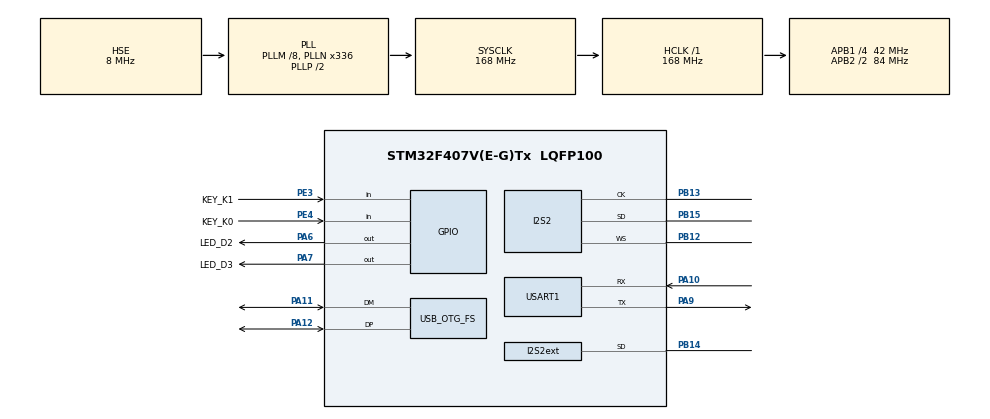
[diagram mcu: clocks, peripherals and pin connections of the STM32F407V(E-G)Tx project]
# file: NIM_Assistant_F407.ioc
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Dma.I2S2_EXT_RX.0.Direction=DMA_PERIPH_TO_MEMORY
Dma.I2S2_EXT_RX.0.FIFOMode=DMA_FIFOMODE_DISABLE
Dma.I2S2_EXT_RX.0.Instance=DMA1_Stream3
Dma.I2S2_EXT_RX.0.MemDataAlignment=DMA_MDATAALIGN_HALFWORD
Dma.I2S2_EXT_RX.0.MemInc=DMA_MINC_ENABLE
Dma.I2S2_EXT_RX.0.Mode=DMA_CIRCULAR
Dma.I2S2_EXT_RX.0.PeriphDataAlignment=DMA_PDATAALIGN_HALFWORD
Dma.I2S2_EXT_RX.0.PeriphInc=DMA_PINC_DISABLE
Dma.I2S2_EXT_RX.0.Priority=DMA_PRIORITY_HIGH
Dma.Request0=I2S2_EXT_RX
Dma.Request1=SPI2_TX
Dma.SPI2_TX.1.Direction=DMA_MEMORY_TO_PERIPH
Dma.SPI2_TX.1.FIFOMode=DMA_FIFOMODE_DISABLE
Dma.SPI2_TX.1.Instance=DMA1_Stream4
Dma.SPI2_TX.1.MemDataAlignment=DMA_MDATAALIGN_HALFWORD
Dma.SPI2_TX.1.MemInc=DMA_MINC_ENABLE
Dma.SPI2_TX.1.Mode=DMA_CIRCULAR
Dma.SPI2_TX.1.PeriphDataAlignment=DMA_PDATAALIGN_HALFWORD
Dma.SPI2_TX.1.PeriphInc=DMA_PINC_DISABLE
Dma.SPI2_TX.1.Priority=DMA_PRIORITY_LOW
Mcu.Family=STM32F4
Mcu.Name=STM32F407V(E-G)Tx
Mcu.Package=LQFP100
NVIC.DMA1_Stream3_IRQn=true\:0\:0\:false\:false\:true\:true\:true\:true
NVIC.DMA1_Stream4_IRQn=true\:0\:0\:false\:false\:true\:true\:true\:true
NVIC.OTG_FS_IRQn=true\:0\:0\:false\:false\:true\:false\:true\:true
NVIC.PriorityGroup=NVIC_PRIORITYGROUP_4
I2S2.AudioFreq=I2S_AUDIOFREQ_16K
I2S2.ClockSource=I2S_CLOCK_PLL
I2S2.DataFormat=I2S_DATAFORMAT_24B
I2S2.FullDuplexMode=I2S_FULLDUPLEXMODE_ENABLE
I2S2.MCLKOutput=I2S_MCLKOUTPUT_DISABLE
I2S2.Standard=I2S_STANDARD_PHILIPS
I2S2.VirtualMode=VM_MASTER_TX
PA10.Mode=Asynchronous
PA10.Signal=USART1_RX
PA11.Mode=Device_Only
PA11.Signal=USB_OTG_FS_DM
PA12.Mode=Device_Only
PA12.Signal=USB_OTG_FS_DP
PA13.Mode=Serial_Wire
PA13.Signal=SYS_JTMS-SWDIO
PA14.Mode=Serial_Wire
PA14.Signal=SYS_JTCK-SWCLK
PB12.Mode=I2S_Transmit
PB12.Signal=I2S2_WS
PB13.Mode=I2S_Transmit
PB13.Signal=I2S2_CK
PB14.Mode=I2S_FullDuplex
PB14.Signal=I2S2ext_SD
PB15.Mode=I2S_Transmit
PB15.Signal=I2S2_SD
PA6.GPIO_Label=LED_D2
PA6.Signal=GPIO_Output
PA7.GPIO_Label=LED_D3
PA7.Signal=GPIO_Output
PA9.Mode=Asynchronous
PA9.Signal=USART1_TX
PE3.GPIO_Label=KEY_K1
PE3.GPIO_PuPd=GPIO_PULLUP
PE3.Signal=GPIO_Input
PE4.GPIO_Label=KEY_K0
PE4.GPIO_PuPd=GPIO_PULLUP
PE4.Signal=GPIO_Input
PH0-OSC_IN.Mode=HSE-External-Oscillator
PH0-OSC_IN.Signal=RCC_OSC_IN
PH1-OSC_OUT.Mode=HSE-External-Oscillator
PH1-OSC_OUT.Signal=RCC_OSC_OUT
ProjectManager.HeapSize=0x200
ProjectManager.StackSize=0x400
ProjectManager.TargetToolchain=STM32CubeIDE
RCC.AHBCLKDivider=RCC_SYSCLK_DIV1
RCC.AHBFreq_Value=168000000
RCC.APB1CLKDivider=RCC_HCLK_DIV4
RCC.APB1Freq_Value=42000000
RCC.APB1TimFreq_Value=84000000
RCC.APB2CLKDivider=RCC_HCLK_DIV2
RCC.APB2Freq_Value=84000000
RCC.APB2TimFreq_Value=168000000
RCC.CortexFreq_Value=168000000
RCC.HCLKFreq_Value=168000000
RCC.HSE_VALUE=8000000
RCC.HSI_VALUE=16000000
RCC.LSE_VALUE=32768
RCC.PLLM=8
RCC.PLLN=336
RCC.PLLP=RCC_PLLP_DIV2
RCC.PLLQ=7
RCC.PLLSourceVirtual=RCC_PLLSOURCE_HSE
RCC.SYSCLKFreq_VALUE=168000000
RCC.SYSCLKSource=RCC_SYSCLKSOURCE_PLLCLK
RCC.VCOOutputFreq_Value=336000000
USART1.VirtualMode=VM_ASYNC
USB_DEVICE.CLASS_NAME_FS=CDC
USB_DEVICE.VirtualMode-CDC_FS=Cdc
USB_DEVICE.VirtualModeFS=Cdc_FS
USB_OTG_FS.VirtualMode=Device_Only
VP_USB_DEVICE_VS_USB_DEVICE_CDC_FS.Mode=CDC_FS
board=custom

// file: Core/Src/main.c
/* USER CODE BEGIN Header */
/**
 ******************************************************************************
 * @file           : main.c
 * @brief          : Main program body
 ******************************************************************************
 * @attention
 *
 * Copyright (c) 2026 STMicroelectronics.
 * All rights reserved.
 *
 * This software is licensed under terms that can be found in the LICENSE file
 * in the root directory of this software component.
 * If no LICENSE file comes with this software, it is provided AS-IS.
 *
 ******************************************************************************
 */
/* USER CODE END Header */
#include "main.h"
#include "usb_device.h"

/* USER CODE BEGIN Includes */
#include "audio_clip.h"
#include "usbd_cdc_if.h"
#include <stdio.h>
#include <string.h>
/* USER CODE END Includes */

/* USER CODE BEGIN PD */
#define MIC_LOOPBACK_CHANNEL 0U
#define LOOPBACK_GAIN 32
#define LOOPBACK_DC_SHIFT 8U
#define LOOPBACK_OUTPUT_LIMIT 900
#define LOOPBACK_LPF_SHIFT 4U
#define LOOPBACK_NOISE_GATE 180
#define MIC_INVALID_MAGNITUDE 500000U
#define LOOPBACK_SPEAKER_ENABLE 0U
#define RECORD_SAMPLE_COUNT 8000U
#define RECORD_GAIN 12
#define RECORD_NOISE_GATE 80
#define RECORD_TEST_TONE 0U  /* 1=fill with test tone, 0=record from mic */
#define PCM_SAMPLE_RATE 16000U
#define PCM_PACKET_MAGIC "PCM1"
#define PCM_PACKET_HEADER_BYTES 24U
#define PCM_PACKET_PAYLOAD_BYTES (RECORD_SAMPLE_COUNT * sizeof(int16_t))
#define PCM_UART_CHUNK_BYTES 256U
#define UART_BRIDGE_BAUD_RATE 921600U
#define ESP32_PERIODIC_PING_ENABLE 0U
#define AUD_PACKET_MAGIC "AUD1"
#define AUD_PACKET_HEADER_BYTES 24U
#define AUD_SAMPLE_RATE 16000U
#define AUD_BYTES_PER_SAMPLE 2U
#define AUD_RING_BUFFER_BYTES 65536U
#define AUD_PREBUFFER_BYTES 8192U
#define UART_RX_DMA_BUFFER_BYTES 1024U
#define DMA_AUDIO_BUFFER_HALFWORDS 512U
#define DMA_AUDIO_HALF_BUFFER_HALFWORDS (DMA_AUDIO_BUFFER_HALFWORDS / 2U)
#define DMA_AUDIO_FRAME_HALFWORDS 4U
#define DMA_AUDIO_HAL_TRANSFER_SIZE (DMA_AUDIO_BUFFER_HALFWORDS / 2U)

/* USER CODE END PD */

UART_HandleTypeDef huart1;
I2S_HandleTypeDef hi2s2;
DMA_HandleTypeDef hdma_i2s2_ext_rx;
DMA_HandleTypeDef hdma_spi2_tx;
DMA_HandleTypeDef hdma_usart1_rx;

/* USER CODE BEGIN PV */
static volatile uint8_t i2s2_ready = 0;
static volatile uint8_t audio_dma_running = 0;
static volatile uint8_t clip_playing = 0;
static volatile uint8_t clip_done_pending = 0;
static volatile uint32_t clip_index = 0;
static volatile uint8_t record_active = 0;
static volatile uint8_t record_playing = 0;
static volatile uint8_t record_play_done_pending = 0;
static volatile uint32_t record_index = 0;
static volatile uint32_t record_play_index = 0;
static volatile uint8_t  record_write_buf = 0;
static volatile uint32_t record_length = 0;
static volatile uint8_t record_done_pending = 0;
static volatile uint8_t audio_dma_error_pending = 0;
static volatile uint32_t record_invalid_count = 0;
static volatile uint32_t record_done_invalid_count = 0;
static volatile uint32_t record_done_lavg = 0;
static volatile uint32_t record_done_lpk = 0;
static volatile uint32_t record_done_ravg = 0;
static volatile uint32_t record_done_rpk = 0;
static volatile uint32_t record_done_ovr = 0;
static volatile uint32_t dma_ovr_count = 0;
static volatile uint32_t dma_error_count = 0;
static volatile uint64_t dma_channel_sum[2] = {0U, 0U};
static volatile uint32_t dma_channel_peak[2] = {0U, 0U};
static volatile uint32_t dma_channel_valid[2] = {0U, 0U};
static volatile uint32_t dma_raw_peak[2] = {0U, 0U};
static volatile uint32_t dma_output_peak = 0;
static volatile uint32_t dma_frame_count = 0;
static uint8_t pcm_tx_active = 0;
static uint8_t pcm_tx_header_sent = 0;
static uint32_t pcm_tx_seq = 0;
static uint32_t pcm_tx_offset = 0;
static uint32_t pcm_tx_checksum = 0;
static uint8_t *pcm_tx_buf = NULL;
static uint32_t pcm_tx_bytes = 0U;

/* 3 slots: worst case at K1 release one full frame is queued plus the final
   partial frame, and the zero-payload EOS marker still needs a slot. */
#define PCM_TX_QUEUE_SIZE 3U
typedef struct { uint8_t *buf; uint32_t bytes; } pcm_tx_item_t;
static pcm_tx_item_t pcm_tx_queue[PCM_TX_QUEUE_SIZE];
static volatile uint8_t  pcm_tx_q_head = 0U;
static volatile uint8_t  pcm_tx_q_tail = 0U;
static volatile uint8_t  pcm_tx_q_count = 0U;
static volatile uint32_t pcm_tx_dropped = 0U;
static volatile uint8_t uart_rx_dma_ready = 0;
static volatile uint8_t aud_rx_active = 0;
static volatile uint8_t aud_playing = 0;
static volatile uint8_t aud_done_pending = 0;
static volatile uint8_t aud_result_pending = 0;
static volatile uint8_t aud_result_ok = 0;
static volatile uint32_t aud_seq = 0;
static volatile uint32_t aud_sample_rate = 0;
static volatile uint32_t aud_sample_count = 0;
static volatile uint32_t aud_payload_bytes = 0;
static volatile uint32_t aud_payload_received = 0;
static volatile uint32_t aud_expected_checksum = 0;
static volatile uint32_t aud_actual_checksum = 0;
static volatile uint32_t aud_underrun_count = 0;
static volatile uint32_t aud_overflow_count = 0;
static volatile uint32_t aud_ring_head = 0;
static volatile uint32_t aud_ring_tail = 0;
static volatile uint32_t aud_ring_count = 0;
static uint32_t uart_rx_dma_read_index = 0;
static uint8_t aud_payload_byte_phase = 0U;
static uint8_t aud_payload_pending_lo = 0U;
static int16_t aud_last_sample = 0;
static int32_t record_dc_estimate = 0;
static int32_t record_lpf = 0;
static int32_t loopback_dc_estimate = 0;
static int32_t loopback_output_filter = 0;
static int16_t loopback_output_sample = 0;
static int16_t record_buf[2][RECORD_SAMPLE_COUNT];
static uint8_t aud_ring_buffer[AUD_RING_BUFFER_BYTES];
static uint8_t uart_rx_dma_buffer[UART_RX_DMA_BUFFER_BYTES];
static uint16_t dma_rx_buffer[DMA_AUDIO_BUFFER_HALFWORDS];
static uint16_t dma_tx_buffer[DMA_AUDIO_BUFFER_HALFWORDS];

/* USER CODE END PV */

void SystemClock_Config(void);
static void MX_DMA_Init(void);
static void MX_GPIO_Init(void);
static void MX_I2S2_Init(void);
static void MX_USART1_UART_Init(void);
/* USER CODE BEGIN PFP */
static void Test_SendStatus(const char *message);
static void Test_SendUsbStatus(const char *message);
static void Test_SendPingIfDue(uint32_t *last_ping_tick);
static void Test_HandleUartRx(void);
static void Test_StartAudioClip(void);
static void Test_StartMicStreamRecord(void);
static void Test_StopMicStreamRecord(void);
static void Test_ResetDmaStats(void);
static void Test_StartAudioDma(void);
static void Test_ServiceAudioDma(uint8_t mic_diagnostic_enabled, uint32_t *last_report_tick);
static void Test_ProcessAudioDmaBlock(uint32_t offset, uint32_t length);
static int16_t Test_GetNextDmaOutputSample(void);
static void Test_WriteLe32(uint8_t *buffer, uint32_t offset, uint32_t value);
static uint32_t Test_ReadLe32(const uint8_t *buffer, uint32_t offset);
static void Test_RequestPcmTransmit(uint8_t *buf, uint32_t bytes);
static uint8_t Test_IsPcmTransmitBusy(void);
static void Test_ServicePcmTransmit(void);
static void Test_StartUartRxDma(void);
static void Test_ProcessUartRxByte(uint8_t rx_byte);
static void Test_ResetAudStream(void);
static void Test_StartAudPayload(const uint8_t *header);
static void Test_ProcessAudPayloadByte(uint8_t rx_byte);
static uint8_t Test_AudRingWriteSampleBytes(uint8_t lo, uint8_t hi);
static uint8_t Test_AudRingReadSample(int16_t *sample);
static int16_t Test_DecaySampleTowardZero(int16_t sample);
static int16_t Test_GetNextAudSample(void);
static void Test_ServiceAudStream(uint32_t *last_report_tick);

/* USER CODE END PFP */

/* USER CODE BEGIN 0 */
static void Test_SendStatus(const char *message) {
  if ((pcm_tx_q_count == 0U) && (pcm_tx_active == 0U)) {
    HAL_UART_Transmit(&huart1, (uint8_t *)message, strlen(message), 10);
  }
  Test_SendUsbStatus(message);
}

static void Test_SendUsbStatus(const char *message) {
  uint8_t retries = 3;

  while ((CDC_Transmit_FS((uint8_t *)message, strlen(message)) == USBD_BUSY) && (retries > 0U)) {
    HAL_Delay(1);
    retries--;
  }
}

static void Test_SendPingIfDue(uint32_t *last_ping_tick) {
  const char ping[] = "PING\r\n";

  if (ESP32_PERIODIC_PING_ENABLE == 0U) {
    return;
  }

  if ((Test_IsPcmTransmitBusy() == 0U) && ((HAL_GetTick() - *last_ping_tick) >= 1000U)) {
    *last_ping_tick = HAL_GetTick();
    HAL_UART_Transmit(&huart1, (uint8_t *)ping, strlen(ping), 10);
  }
}

static void Test_HandleUartRx(void) {
  if ((uart_rx_dma_ready == 0U) || (huart1.hdmarx == NULL)) {
    return;
  }

  uint32_t write_index = UART_RX_DMA_BUFFER_BYTES - __HAL_DMA_GET_COUNTER(huart1.hdmarx);
  if (write_index >= UART_RX_DMA_BUFFER_BYTES) {
    write_index = 0U;
  }

  while (uart_rx_dma_read_index != write_index) {
    uint8_t rx_byte = uart_rx_dma_buffer[uart_rx_dma_read_index];
    uart_rx_dma_read_index++;
    if (uart_rx_dma_read_index >= UART_RX_DMA_BUFFER_BYTES) {
      uart_rx_dma_read_index = 0U;
    }
    Test_ProcessUartRxByte(rx_byte);
  }
}

static void Test_StartUartRxDma(void) {
  memset(uart_rx_dma_buffer, 0, sizeof(uart_rx_dma_buffer));
  uart_rx_dma_read_index = 0U;
  uart_rx_dma_ready = 0U;

  if (HAL_UART_Receive_DMA(&huart1, uart_rx_dma_buffer, UART_RX_DMA_BUFFER_BYTES) == HAL_OK) {
    uart_rx_dma_ready = 1U;
    Test_SendUsbStatus("USART1 RX DMA ready at 921600 baud\r\n");
  } else {
    Test_SendUsbStatus("USART1 RX DMA failed\r\n");
  }
}

static void Test_ProcessUartRxByte(uint8_t rx_byte) {
  enum {
    UART_PARSE_LINE = 0,
    UART_PARSE_AUD_HEADER,
    UART_PARSE_AUD_PAYLOAD,
    UART_PARSE_AUD_DROP
  };
  static uint8_t parse_mode = UART_PARSE_LINE;
  static char line_buffer[16];
  static uint8_t line_index = 0U;
  static uint8_t aud_magic_index = 0U;
  static uint8_t aud_header[AUD_PACKET_HEADER_BYTES - 4U];
  static uint32_t aud_header_index = 0U;

  if (parse_mode == UART_PARSE_AUD_HEADER) {
    aud_header[aud_header_index++] = rx_byte;
    if (aud_header_index >= sizeof(aud_header)) {
      Test_StartAudPayload(aud_header);
      if (aud_rx_active != 0U) {
        parse_mode = UART_PARSE_AUD_PAYLOAD;
      } else if (aud_payload_bytes > 0U) {
        parse_mode = UART_PARSE_AUD_DROP;
      } else {
        parse_mode = UART_PARSE_LINE;
      }
      aud_header_index = 0U;
    }
    return;
  }

  if (parse_mode == UART_PARSE_AUD_PAYLOAD) {
    Test_ProcessAudPayloadByte(rx_byte);
    if (aud_payload_received >= aud_payload_bytes) {
      parse_mode = UART_PARSE_LINE;
      aud_magic_index = 0U;
      line_index = 0U;
    }
    return;
  }

  if (parse_mode == UART_PARSE_AUD_DROP) {
    aud_payload_received++;
    if (aud_payload_received >= aud_payload_bytes) {
      parse_mode = UART_PARSE_LINE;
      aud_magic_index = 0U;
      line_index = 0U;
    }
    return;
  }

  if ((line_index == 0U) || (aud_magic_index > 0U)) {
    if (rx_byte == (uint8_t)AUD_PACKET_MAGIC[aud_magic_index]) {
      aud_magic_index++;
      if (aud_magic_index == 4U) {
        parse_mode = UART_PARSE_AUD_HEADER;
        aud_header_index = 0U;
        line_index = 0U;
        return;
      }
      return;
    }

    if (aud_magic_index > 0U) {
      for (uint8_t i = 0U; i < aud_magic_index; i++) {
        if (line_index < (sizeof(line_buffer) - 1U)) {
          line_buffer[line_index++] = AUD_PACKET_MAGIC[i];
        }
      }
      aud_magic_index = 0U;
    }
  }

  if ((rx_byte == '\r') || (rx_byte == '\n')) {
    if (line_index > 0U) {
      line_buffer[line_index] = '\0';
      if (strcmp(line_buffer, "PONG") == 0) {
        Test_SendUsbStatus("ESP32 PONG OK\r\n");
      }
      line_index = 0U;
    }
  } else if (line_index < (sizeof(line_buffer) - 1U)) {
    line_buffer[line_index++] = (char)rx_byte;
  } else {
    line_index = 0U;
    aud_magic_index = 0U;
  }
}

static void Test_ResetAudStream(void) {
  aud_rx_active = 0U;
  aud_playing = 0U;
  aud_done_pending = 0U;
  aud_result_pending = 0U;
  aud_result_ok = 0U;
  aud_seq = 0U;
  aud_sample_rate = 0U;
  aud_sample_count = 0U;
  aud_payload_bytes = 0U;
  aud_payload_received = 0U;
  aud_expected_checksum = 0U;
  aud_actual_checksum = 0U;
  aud_underrun_count = 0U;
  aud_overflow_count = 0U;
  aud_ring_head = 0U;
  aud_ring_tail = 0U;
  aud_ring_count = 0U;
  aud_payload_byte_phase = 0U;
  aud_payload_pending_lo = 0U;
  aud_last_sample = 0;
}

static void Test_StartAudPayload(const uint8_t *header) {
  char message[128];
  uint32_t sample_rate = Test_ReadLe32(header, 0U);
  uint32_t sample_count = Test_ReadLe32(header, 4U);
  uint32_t payload_bytes = Test_ReadLe32(header, 8U);
  uint32_t seq = Test_ReadLe32(header, 12U);
  uint32_t checksum = Test_ReadLe32(header, 16U);

  __disable_irq();
  Test_ResetAudStream();
  aud_seq = seq;
  aud_sample_rate = sample_rate;
  aud_sample_count = sample_count;
  aud_payload_bytes = payload_bytes;
  aud_expected_checksum = checksum;
  __enable_irq();

  if ((sample_rate != AUD_SAMPLE_RATE) ||
      (sample_count == 0U) ||
      (sample_count > (0xFFFFFFFFU / AUD_BYTES_PER_SAMPLE)) ||
      (payload_bytes == 0U) ||
      (payload_bytes != (sample_count * AUD_BYTES_PER_SAMPLE))) {
    snprintf(message, sizeof(message),
             "AUD RX reject seq:%lu rate:%lu samples:%lu bytes:%lu\r\n",
             (unsigned long)seq, (unsigned long)sample_rate,
             (unsigned long)sample_count, (unsigned long)payload_bytes);
    Test_SendUsbStatus(message);
    return;
  }

  __disable_irq();
  aud_rx_active = 1U;
  __enable_irq();
  snprintf(message, sizeof(message),
           "AUD RX start seq:%lu samples:%lu bytes:%lu checksum:%lu\r\n",
           (unsigned long)seq, (unsigned long)sample_count,
           (unsigned long)payload_bytes, (unsigned long)checksum);
  Test_SendUsbStatus(message);
}

static void Test_ProcessAudPayloadByte(uint8_t rx_byte) {
  aud_actual_checksum += rx_byte;
  aud_payload_received++;

  if (aud_payload_byte_phase == 0U) {
    aud_payload_pending_lo = rx_byte;
    aud_payload_byte_phase = 1U;
  } else {
    if (Test_AudRingWriteSampleBytes(aud_payload_pending_lo, rx_byte) == 0U) {
      aud_overflow_count += AUD_BYTES_PER_SAMPLE;
    }
    aud_payload_byte_phase = 0U;
  }

  if ((aud_playing == 0U) &&
      ((aud_ring_count >= AUD_PREBUFFER_BYTES) ||
       (aud_payload_received >= aud_payload_bytes))) {
    aud_playing = 1U;
  }

  if (aud_payload_received >= aud_payload_bytes) {
    aud_rx_active = 0U;
    aud_payload_byte_phase = 0U;
    aud_result_ok = (aud_actual_checksum == aud_expected_checksum) ? 1U : 0U;
    aud_result_pending = 1U;
  }
}

static uint8_t Test_AudRingWriteSampleBytes(uint8_t lo, uint8_t hi) {
  uint8_t ok = 0U;

  __disable_irq();
  if (aud_ring_count <= (AUD_RING_BUFFER_BYTES - AUD_BYTES_PER_SAMPLE)) {
    aud_ring_buffer[aud_ring_head] = lo;
    aud_ring_head++;
    if (aud_ring_head >= AUD_RING_BUFFER_BYTES) {
      aud_ring_head = 0U;
    }
    aud_ring_buffer[aud_ring_head] = hi;
    aud_ring_head++;
    if (aud_ring_head >= AUD_RING_BUFFER_BYTES) {
      aud_ring_head = 0U;
    }
    aud_ring_count += AUD_BYTES_PER_SAMPLE;
    ok = 1U;
  }
  __enable_irq();

  return ok;
}

static uint8_t Test_AudRingReadSample(int16_t *sample) {
  uint8_t lo;
  uint8_t hi;

  if (aud_ring_count < AUD_BYTES_PER_SAMPLE) {
    return 0U;
  }

  lo = aud_ring_buffer[aud_ring_tail];
  aud_ring_tail++;
  if (aud_ring_tail >= AUD_RING_BUFFER_BYTES) {
    aud_ring_tail = 0U;
  }

  hi = aud_ring_buffer[aud_ring_tail];
  aud_ring_tail++;
  if (aud_ring_tail >= AUD_RING_BUFFER_BYTES) {
    aud_ring_tail = 0U;
  }

  aud_ring_count -= AUD_BYTES_PER_SAMPLE;
  *sample = (int16_t)((uint16_t)lo | ((uint16_t)hi << 8));
  return 1U;
}

static int16_t Test_DecaySampleTowardZero(int16_t sample) {
  int32_t value = sample;
  int32_t step;

  if (value > 0) {
    step = (value + 7) / 8;
    value -= step;
  } else if (value < 0) {
    step = ((-value) + 7) / 8;
    value += step;
  }

  return (int16_t)value;
}

static int16_t Test_GetNextAudSample(void) {
  int16_t sample = 0;

  if (Test_AudRingReadSample(&sample) != 0U) {
    aud_last_sample = sample;
    return sample;
  }

  if ((aud_rx_active != 0U) || (aud_payload_received < aud_payload_bytes)) {
    aud_underrun_count++;
  } else {
    if (aud_last_sample == 0) {
      aud_playing = 0U;
      aud_done_pending = 1U;
    }
  }

  aud_last_sample = Test_DecaySampleTowardZero(aud_last_sample);
  return aud_last_sample;
}

static void Test_ServiceAudStream(uint32_t *last_report_tick) {
  char message[160];

  if (aud_result_pending != 0U) {
    aud_result_pending = 0U;
    snprintf(message, sizeof(message),
             "AUD RX payload done seq:%lu bytes:%lu checksum:%lu/%lu %s\r\n",
             (unsigned long)aud_seq, (unsigned long)aud_payload_received,
             (unsigned long)aud_actual_checksum,
             (unsigned long)aud_expected_checksum,
             (aud_result_ok != 0U) ? "OK" : "FAIL");
    Test_SendUsbStatus(message);
  }

  if (aud_done_pending != 0U) {
    aud_done_pending = 0U;
    snprintf(message, sizeof(message),
             "AUD playback done seq:%lu underrun:%lu overflow:%lu\r\n",
             (unsigned long)aud_seq, (unsigned long)aud_underrun_count,
             (unsigned long)aud_overflow_count);
    Test_SendUsbStatus(message);
  }

  if (((aud_rx_active != 0U) || (aud_playing != 0U)) &&
      ((HAL_GetTick() - *last_report_tick) >= 1000U)) {
    *last_report_tick = HAL_GetTick();
    snprintf(message, sizeof(message),
             "AUD level:%lu rx:%lu/%lu underrun:%lu overflow:%lu\r\n",
             (unsigned long)aud_ring_count,
             (unsigned long)aud_payload_received,
             (unsigned long)aud_payload_bytes,
             (unsigned long)aud_underrun_count,
             (unsigned long)aud_overflow_count);
    Test_SendUsbStatus(message);
  }
}

static void Test_StartAudioClip(void) {
  if (i2s2_ready == 0U) {
    Test_SendUsbStatus("Audio clip disabled: I2S DMA init failed\r\n");
    return;
  }

  __disable_irq();
  Test_ResetAudStream();
  record_active = 0U;
  record_playing = 0U;
  record_done_pending = 0U;
  record_play_done_pending = 0U;
  pcm_tx_q_head = 0U;
  pcm_tx_q_tail = 0U;
  pcm_tx_q_count = 0U;
  pcm_tx_active = 0U;
  pcm_tx_header_sent = 0U;
  pcm_tx_offset = 0U;
  clip_index = 0U;
  clip_playing = 1U;
  clip_done_pending = 0U;
  __enable_irq();
  Test_SendStatus("K0 pressed: Audio clip playback\r\n");
}

static void Test_StartMicStreamRecord(void) {
  if (i2s2_ready == 0U) {
    Test_SendUsbStatus("Mic record disabled: I2S DMA init failed\r\n");
    return;
  }
  /* Drain any in-flight PCM packet before resetting TX state so the last
     block of the previous recording reaches the ESP32 intact. Safe because
     record_active==0 here, so the DMA ISR won't enqueue new data. */
  while (Test_IsPcmTransmitBusy()) {
    Test_ServicePcmTransmit();
  }
  __disable_irq();
  Test_ResetAudStream();
  clip_playing = 0U;
  clip_done_pending = 0U;
  record_index = 0U;
  record_play_index = 0U;
  record_write_buf = 0U;
  record_length = 0U;
  record_invalid_count = 0U;
  record_done_invalid_count = 0U;
  record_done_lavg = 0U;
  record_done_lpk = 0U;
  record_done_ravg = 0U;
  record_done_rpk = 0U;
  record_done_ovr = 0U;
  record_dc_estimate = 0;
  record_lpf = 0;
  record_done_pending = 0U;
  record_play_done_pending = 0U;
  pcm_tx_q_head = 0U;
  pcm_tx_q_tail = 0U;
  pcm_tx_q_count = 0U;
  pcm_tx_active = 0U;
  pcm_tx_header_sent = 0U;
  pcm_tx_offset = 0U;
  Test_ResetDmaStats();
  record_active = 1U;
  record_playing = 0U;
  __enable_irq();
  Test_SendStatus("K1 pressed: stream record start\r\n");
}

static void Test_StopMicStreamRecord(void) {
  uint8_t wb;
  uint32_t len;
  __disable_irq();
  len = record_index;
  record_length = len;
  record_active = 0U;
  wb = record_write_buf;
  __enable_irq();

  if (len > 0U) {
    Test_RequestPcmTransmit(
      (uint8_t *)record_buf[wb],
      len * sizeof(int16_t));
  }
  /* Zero-payload PCM1 frame = end-of-session marker, so the PC can start the
     pipeline immediately instead of waiting for its receive timeout. */
  Test_RequestPcmTransmit(NULL, 0U);
  Test_SendStatus("K1 released: stream record stop, final PCM TX queued\r\n");
}

static void Test_ResetDmaStats(void) {
  dma_channel_sum[0] = 0U;
  dma_channel_sum[1] = 0U;
  dma_channel_peak[0] = 0U;
  dma_channel_peak[1] = 0U;
  dma_channel_valid[0] = 0U;
  dma_channel_valid[1] = 0U;
  dma_raw_peak[0] = 0U;
  dma_raw_peak[1] = 0U;
  dma_output_peak = 0U;
  dma_frame_count = 0U;
  dma_ovr_count = 0U;
}

static void Test_StartAudioDma(void) {
  memset(dma_rx_buffer, 0, sizeof(dma_rx_buffer));
  memset(dma_tx_buffer, 0, sizeof(dma_tx_buffer));
  Test_ResetDmaStats();

  if (HAL_I2SEx_TransmitReceive_DMA(&hi2s2, dma_tx_buffer, dma_rx_buffer,
                                    DMA_AUDIO_HAL_TRANSFER_SIZE) == HAL_OK) {
    audio_dma_running = 1U;
    i2s2_ready = 1U;
  } else {
    audio_dma_running = 0U;
    i2s2_ready = 0U;
    audio_dma_error_pending = 1U;
  }
}

static int16_t Test_GetNextDmaOutputSample(void) {
  int16_t tx_sample = 0;

  if (clip_playing != 0U) {
    tx_sample = audio_clip[clip_index];
    clip_index++;
    if (clip_index >= AUDIO_CLIP_SAMPLE_COUNT) {
      clip_playing = 0U;
      clip_index = 0U;
      clip_done_pending = 1U;
    }
  } else if (record_playing != 0U) {
    tx_sample = record_buf[record_write_buf ^ 1U][record_play_index];
    record_play_index++;
    if (record_play_index >= RECORD_SAMPLE_COUNT) {
      record_playing = 0U;
      record_play_index = 0U;
      record_play_done_pending = 1U;
    }
  } else if (aud_playing != 0U) {
    tx_sample = Test_GetNextAudSample();
  } else if (LOOPBACK_SPEAKER_ENABLE != 0U) {
    tx_sample = loopback_output_sample;
  }

  return tx_sample;
}

static uint32_t Test_ComputePcmChecksumBuf(const uint8_t *buf, uint32_t bytes) {
  uint32_t checksum = 0U;
  for (uint32_t i = 0U; i < bytes; i++) {
    checksum += buf[i];
  }
  return checksum;
}

static void Test_WriteLe32(uint8_t *buffer, uint32_t offset, uint32_t value) {
  buffer[offset] = (uint8_t)(value & 0xFFU);
  buffer[offset + 1U] = (uint8_t)((value >> 8) & 0xFFU);
  buffer[offset + 2U] = (uint8_t)((value >> 16) & 0xFFU);
  buffer[offset + 3U] = (uint8_t)((value >> 24) & 0xFFU);
}

static uint32_t Test_ReadLe32(const uint8_t *buffer, uint32_t offset) {
  return ((uint32_t)buffer[offset]) |
         ((uint32_t)buffer[offset + 1U] << 8) |
         ((uint32_t)buffer[offset + 2U] << 16) |
         ((uint32_t)buffer[offset + 3U] << 24);
}

static void Test_RequestPcmTransmit(uint8_t *buf, uint32_t bytes) {
  uint32_t primask = __get_PRIMASK();
  __disable_irq();
  if (pcm_tx_q_count >= PCM_TX_QUEUE_SIZE) {
    pcm_tx_dropped++;
    if (primask == 0U) { __enable_irq(); }
    return;
  }
  pcm_tx_queue[pcm_tx_q_head].buf = buf;
  pcm_tx_queue[pcm_tx_q_head].bytes = bytes;
  pcm_tx_q_head = (uint8_t)((pcm_tx_q_head + 1U) % PCM_TX_QUEUE_SIZE);
  pcm_tx_q_count++;
  if (primask == 0U) { __enable_irq(); }
}

static uint8_t Test_IsPcmTransmitBusy(void) {
  return ((pcm_tx_q_count != 0U) || (pcm_tx_active != 0U)) ? 1U : 0U;
}

static void Test_ServicePcmTransmit(void) {
  char message[96];

  if ((pcm_tx_active == 0U) && (pcm_tx_q_count == 0U)) {
    return;
  }

  if (pcm_tx_active == 0U) {
    /* Pop next item from queue */
    __disable_irq();
    pcm_tx_buf   = pcm_tx_queue[pcm_tx_q_tail].buf;
    pcm_tx_bytes = pcm_tx_queue[pcm_tx_q_tail].bytes;
    pcm_tx_q_tail = (uint8_t)((pcm_tx_q_tail + 1U) % PCM_TX_QUEUE_SIZE);
    pcm_tx_q_count--;
    __enable_irq();
    pcm_tx_checksum = Test_ComputePcmChecksumBuf(pcm_tx_buf, pcm_tx_bytes);
    pcm_tx_offset = 0U;
    pcm_tx_header_sent = 0U;
    pcm_tx_seq++;
    pcm_tx_active = 1U;
    snprintf(message, sizeof(message),
             "PCM TX start seq:%lu bytes:%lu checksum:%lu\r\n",
             (unsigned long)pcm_tx_seq,
             (unsigned long)pcm_tx_bytes,
             (unsigned long)pcm_tx_checksum);
    Test_SendUsbStatus(message);
  }

  if ((pcm_tx_header_sent == 0U) && (pcm_tx_active != 0U)) {
    uint8_t header[PCM_PACKET_HEADER_BYTES];
    memcpy(header, PCM_PACKET_MAGIC, 4U);
    Test_WriteLe32(header, 4U, PCM_SAMPLE_RATE);
    Test_WriteLe32(header, 8U, pcm_tx_bytes / sizeof(int16_t));
    Test_WriteLe32(header, 12U, pcm_tx_bytes);
    Test_WriteLe32(header, 16U, pcm_tx_seq);
    Test_WriteLe32(header, 20U, pcm_tx_checksum);

    if (HAL_UART_Transmit(&huart1, header, sizeof(header), 100) != HAL_OK) {
      Test_SendUsbStatus("PCM TX header failed\r\n");
      pcm_tx_active = 0U;
      return;
    }
    pcm_tx_header_sent = 1U;
    return;
  }

  if (pcm_tx_active != 0U) {
    uint32_t remaining = pcm_tx_bytes - pcm_tx_offset;
    uint16_t chunk = (remaining > PCM_UART_CHUNK_BYTES) ? PCM_UART_CHUNK_BYTES : (uint16_t)remaining;
    uint8_t *payload = pcm_tx_buf;

    if (chunk > 0U) {
      if (HAL_UART_Transmit(&huart1, &payload[pcm_tx_offset], chunk, 100) != HAL_OK) {
        Test_SendUsbStatus("PCM TX payload failed\r\n");
        pcm_tx_active = 0U;
        return;
      }
      pcm_tx_offset += chunk;
      return;
    }

    snprintf(message, sizeof(message),
             "PCM TX done seq:%lu bytes:%lu\r\n",
             (unsigned long)pcm_tx_seq,
             (unsigned long)pcm_tx_bytes);
    Test_SendUsbStatus(message);
    pcm_tx_active = 0U;
    pcm_tx_header_sent = 0U;
    pcm_tx_offset = 0U;
  }
}

static void Test_ProcessAudioDmaBlock(uint32_t offset, uint32_t length) {
  uint32_t end = offset + length;

  for (uint32_t i = offset; (i + 3U) < end; i += DMA_AUDIO_FRAME_HALFWORDS) {
    uint32_t raw[2];
    int32_t sample[2];
    uint32_t magnitude[2];
    uint8_t valid_sample[2];
    int16_t tx_sample;

    raw[0] = ((uint32_t)dma_rx_buffer[i] << 16) | dma_rx_buffer[i + 1U];
    raw[1] = ((uint32_t)dma_rx_buffer[i + 2U] << 16) | dma_rx_buffer[i + 3U];
    sample[0] = ((int32_t)raw[0]) >> 8;
    sample[1] = ((int32_t)raw[1]) >> 8;

    for (uint8_t channel = 0U; channel < 2U; channel++) {
      magnitude[channel] = (sample[channel] < 0) ? (uint32_t)(-sample[channel]) : (uint32_t)sample[channel];
      valid_sample[channel] = (magnitude[channel] < MIC_INVALID_MAGNITUDE) ? 1U : 0U;

      if (magnitude[channel] > dma_raw_peak[channel]) {
        dma_raw_peak[channel] = magnitude[channel];
      }

      if (valid_sample[channel] != 0U) {
        dma_channel_sum[channel] += magnitude[channel];
        if (magnitude[channel] > dma_channel_peak[channel]) {
          dma_channel_peak[channel] = magnitude[channel];
        }
        dma_channel_valid[channel]++;
      }
    }

    if ((record_active != 0U) && (MIC_LOOPBACK_CHANNEL < 2U)) {
      int32_t pcm = 0;
      uint8_t target_channel = MIC_LOOPBACK_CHANNEL;

      if (valid_sample[target_channel] != 0U) {
        record_dc_estimate += (sample[target_channel] - record_dc_estimate) >> LOOPBACK_DC_SHIFT;
        int32_t pcm_raw = ((sample[target_channel] - record_dc_estimate) >> 8) * RECORD_GAIN;
        record_lpf += (pcm_raw - record_lpf) >> 3;
      } else {
        record_lpf -= record_lpf >> 3;
        record_invalid_count++;
      }

      pcm = record_lpf;
      if (pcm > 32767) {
        pcm = 32767;
      } else if (pcm < -32768) {
        pcm = -32768;
      }

      if ((pcm < RECORD_NOISE_GATE) && (pcm > -RECORD_NOISE_GATE)) {
        pcm = 0;
      }

      if (record_index < RECORD_SAMPLE_COUNT) {
        record_buf[record_write_buf][record_index] = (int16_t)pcm;
        record_index++;
      }

      if (record_index >= RECORD_SAMPLE_COUNT) {
        uint8_t filled = record_write_buf;
        record_done_invalid_count = record_invalid_count;
        record_done_lavg = (dma_channel_valid[0] > 0U) ? (uint32_t)(dma_channel_sum[0] / dma_channel_valid[0]) : 0U;
        record_done_ravg = (dma_channel_valid[1] > 0U) ? (uint32_t)(dma_channel_sum[1] / dma_channel_valid[1]) : 0U;
        record_done_lpk = dma_channel_peak[0];
        record_done_rpk = dma_channel_peak[1];
        record_done_ovr = dma_ovr_count;
        record_write_buf ^= 1U;
        record_index      = 0U;
        record_done_pending = 1U;
        Test_RequestPcmTransmit(
          (uint8_t *)record_buf[filled],
          RECORD_SAMPLE_COUNT * sizeof(int16_t));
      }
    }

    if ((LOOPBACK_SPEAKER_ENABLE != 0U) && (MIC_LOOPBACK_CHANNEL < 2U)) {
      uint8_t target_channel = MIC_LOOPBACK_CHANNEL;
      if (valid_sample[target_channel] != 0U) {
        int32_t scaled;
        uint32_t output_magnitude;
        loopback_dc_estimate += (sample[target_channel] - loopback_dc_estimate) >> LOOPBACK_DC_SHIFT;
        scaled = ((sample[target_channel] - loopback_dc_estimate) * LOOPBACK_GAIN) >> 8;
        loopback_output_filter += (scaled - loopback_output_filter) >> LOOPBACK_LPF_SHIFT;
        scaled = loopback_output_filter;

        if ((scaled < LOOPBACK_NOISE_GATE) && (scaled > -LOOPBACK_NOISE_GATE)) {
          scaled = 0;
        }

        if (scaled > LOOPBACK_OUTPUT_LIMIT) {
          scaled = LOOPBACK_OUTPUT_LIMIT;
        } else if (scaled < -LOOPBACK_OUTPUT_LIMIT) {
          scaled = -LOOPBACK_OUTPUT_LIMIT;
        }

        loopback_output_sample = (int16_t)scaled;
        output_magnitude = (scaled < 0) ? (uint32_t)(-scaled) : (uint32_t)scaled;
        if (output_magnitude > dma_output_peak) {
          dma_output_peak = output_magnitude;
        }
      } else {
        loopback_output_filter -= loopback_output_filter >> LOOPBACK_LPF_SHIFT;
        loopback_output_sample = (int16_t)loopback_output_filter;
      }
    } else {
      loopback_output_sample = 0;
      loopback_output_filter = 0;
      loopback_dc_estimate = 0;
    }

    tx_sample = Test_GetNextDmaOutputSample();
    dma_tx_buffer[i] = (uint16_t)tx_sample;
    dma_tx_buffer[i + 1U] = 0U;
    dma_tx_buffer[i + 2U] = (uint16_t)tx_sample;
    dma_tx_buffer[i + 3U] = 0U;
    dma_frame_count++;
  }
}

static void Test_ServiceAudioDma(uint8_t mic_diagnostic_enabled, uint32_t *last_report_tick) {
  char message[192];

  if ((hi2s2.Instance != NULL) &&
      ((I2SxEXT(hi2s2.Instance)->SR & I2S_FLAG_OVR) != 0U)) {
    __HAL_I2SEXT_CLEAR_OVRFLAG(&hi2s2);
    dma_ovr_count++;
  }

  if (audio_dma_error_pending != 0U) {
    audio_dma_error_pending = 0U;
    snprintf(message, sizeof(message),
             "I2S DMA error count:%lu hal:0x%08lX\r\n",
             (unsigned long)dma_error_count,
             (unsigned long)HAL_I2S_GetError(&hi2s2));
    Test_SendStatus(message);
  }

  if (i2s2_ready == 0U) {
    return;
  }

  if (clip_done_pending != 0U) {
    clip_done_pending = 0U;
    Test_SendUsbStatus("Audio clip done\r\n");
  }

  if (record_play_done_pending != 0U) {
    record_play_done_pending = 0U;
    Test_SendUsbStatus("Record playback done\r\n");
  }

  if (mic_diagnostic_enabled == 0U) {
    Test_ResetDmaStats();
    *last_report_tick = HAL_GetTick();
    return;
  }

  if ((HAL_GetTick() - *last_report_tick) >= 1000U) {
    uint64_t channel_sum_snapshot[2];
    uint32_t channel_peak_snapshot[2];
    uint32_t channel_valid_snapshot[2];
    uint32_t raw_peak_snapshot[2];
    uint32_t output_peak_snapshot;
    uint32_t frame_count_snapshot;
    uint32_t ovr_count_snapshot;
    uint32_t lavg;
    uint32_t ravg;

    __disable_irq();
    channel_sum_snapshot[0] = dma_channel_sum[0];
    channel_sum_snapshot[1] = dma_channel_sum[1];
    channel_peak_snapshot[0] = dma_channel_peak[0];
    channel_peak_snapshot[1] = dma_channel_peak[1];
    channel_valid_snapshot[0] = dma_channel_valid[0];
    channel_valid_snapshot[1] = dma_channel_valid[1];
    raw_peak_snapshot[0] = dma_raw_peak[0];
    raw_peak_snapshot[1] = dma_raw_peak[1];
    output_peak_snapshot = dma_output_peak;
    frame_count_snapshot = dma_frame_count;
    ovr_count_snapshot = dma_ovr_count;
    Test_ResetDmaStats();
    __enable_irq();

    lavg = (channel_valid_snapshot[0] > 0U) ? (uint32_t)(channel_sum_snapshot[0] / channel_valid_snapshot[0]) : 0U;
    ravg = (channel_valid_snapshot[1] > 0U) ? (uint32_t)(channel_sum_snapshot[1] / channel_valid_snapshot[1]) : 0U;
    *last_report_tick = HAL_GetTick();
    snprintf(message, sizeof(message),
             "DMA Mic L avg:%lu pk:%lu raw:%lu n:%lu | R avg:%lu pk:%lu raw:%lu n:%lu | out:%lu frames:%lu ovr:%lu rec:%lu inv:%lu\r\n",
             (unsigned long)lavg, (unsigned long)channel_peak_snapshot[0],
             (unsigned long)raw_peak_snapshot[0], (unsigned long)channel_valid_snapshot[0],
             (unsigned long)ravg, (unsigned long)channel_peak_snapshot[1],
             (unsigned long)raw_peak_snapshot[1], (unsigned long)channel_valid_snapshot[1],
             (unsigned long)output_peak_snapshot, (unsigned long)frame_count_snapshot,
             (unsigned long)ovr_count_snapshot, (unsigned long)record_index,
             (unsigned long)record_invalid_count);
    Test_SendUsbStatus(message);
  }
}

void HAL_I2SEx_TxRxHalfCpltCallback(I2S_HandleTypeDef *hi2s) {
  if (hi2s->Instance == SPI2) {
    Test_ProcessAudioDmaBlock(0U, DMA_AUDIO_HALF_BUFFER_HALFWORDS);
  }
}

void HAL_I2SEx_TxRxCpltCallback(I2S_HandleTypeDef *hi2s) {
  if (hi2s->Instance == SPI2) {
    Test_ProcessAudioDmaBlock(DMA_AUDIO_HALF_BUFFER_HALFWORDS, DMA_AUDIO_HALF_BUFFER_HALFWORDS);
  }
}

void HAL_I2S_ErrorCallback(I2S_HandleTypeDef *hi2s) {
  if (hi2s->Instance == SPI2) {
    audio_dma_running = 0U;
    i2s2_ready = 0U;
    dma_error_count++;
    audio_dma_error_pending = 1U;
  }
}

/* USER CODE END 0 */

int main(void) {

  /* MCU Configuration--------------------------------------------------------*/

  /* Reset of all peripherals, Initializes the Flash interface and the Systick.
   */
  HAL_Init();

  /* Configure the system clock */
  SystemClock_Config();

  /* Initialize all configured peripherals */
  MX_DMA_Init();
  MX_GPIO_Init();

  HAL_GPIO_WritePin(LED_D2_GPIO_Port, LED_D2_Pin, GPIO_PIN_RESET);
  HAL_GPIO_WritePin(LED_D3_GPIO_Port, LED_D3_Pin, GPIO_PIN_SET);

  MX_I2S2_Init();
  Test_StartAudioDma();

  MX_USART1_UART_Init();
  MX_USB_DEVICE_Init();
  /* USER CODE BEGIN 2 */
  uint32_t last_blink_tick = HAL_GetTick();
  uint32_t last_ping_tick = HAL_GetTick();
  uint32_t last_loopback_report_tick = HAL_GetTick();
  uint32_t last_aud_report_tick = HAL_GetTick();
  uint8_t blink_state = 0;
  uint8_t last_button_state = 0xFF;

  Test_StartUartRxDma();
  Test_SendStatus("GPIO/Button test ready\r\n");
  Test_SendStatus("USART1 ESP32 bridge test ready\r\n");
  Test_SendStatus("ESP32 UART bridge ready; periodic PING disabled\r\n");
  if (i2s2_ready != 0U) {
    Test_SendUsbStatus("I2S2 full-duplex DMA audio ready\r\n");
    Test_SendUsbStatus("Audio clip ready: K0 plays Koharu login clip\r\n");
    Test_SendUsbStatus("Mic record ready: K1 records 0.5s then plays back\r\n");
    Test_SendUsbStatus("PCM TX ready: K1 sends buffered PCM to ESP32 after recording\r\n");
  } else {
    Test_SendUsbStatus("Mic record disabled: I2S DMA init failed\r\n");
  }
  Test_SendStatus("Type characters in Tera Term\r\n");
  /* USER CODE END 2 */

  /* Infinite loop */
  /* USER CODE BEGIN WHILE */
  while (1) {
    GPIO_PinState k0 = HAL_GPIO_ReadPin(KEY_K0_GPIO_Port, KEY_K0_Pin);
    GPIO_PinState k1 = HAL_GPIO_ReadPin(KEY_K1_GPIO_Port, KEY_K1_Pin);
    uint8_t button_state = 0;

    if (k0 == GPIO_PIN_RESET) {
      button_state |= 0x01;
    }
    if (k1 == GPIO_PIN_RESET) {
      button_state |= 0x02;
    }

    if (button_state == 0x03) {
      HAL_GPIO_WritePin(LED_D2_GPIO_Port, LED_D2_Pin, GPIO_PIN_RESET);
      HAL_GPIO_WritePin(LED_D3_GPIO_Port, LED_D3_Pin, GPIO_PIN_RESET);
    } else if (button_state == 0x01) {
      HAL_GPIO_WritePin(LED_D2_GPIO_Port, LED_D2_Pin, GPIO_PIN_RESET);
      HAL_GPIO_WritePin(LED_D3_GPIO_Port, LED_D3_Pin, GPIO_PIN_SET);
    } else if (button_state == 0x02) {
      HAL_GPIO_WritePin(LED_D2_GPIO_Port, LED_D2_Pin, GPIO_PIN_SET);
      HAL_GPIO_WritePin(LED_D3_GPIO_Port, LED_D3_Pin, GPIO_PIN_RESET);
    } else if ((HAL_GetTick() - last_blink_tick) >= 500U) {
      last_blink_tick = HAL_GetTick();
      blink_state ^= 1U;
      HAL_GPIO_WritePin(LED_D2_GPIO_Port, LED_D2_Pin,
                        blink_state ? GPIO_PIN_RESET : GPIO_PIN_SET);
      HAL_GPIO_WritePin(LED_D3_GPIO_Port, LED_D3_Pin,
                        blink_state ? GPIO_PIN_SET : GPIO_PIN_RESET);
    }

    if (button_state != last_button_state) {
      last_button_state = button_state;
      if (button_state == 0x03) {
        Test_SendStatus("K0+K1 pressed\r\n");
      } else if (button_state == 0x01) {
        Test_StartAudioClip();
      } else if (button_state == 0x02) {
        Test_StartMicStreamRecord();
        last_loopback_report_tick = HAL_GetTick();
      } else {
        if (record_active != 0U) {
          Test_StopMicStreamRecord();
        } else {
          Test_SendStatus("Buttons released\r\n");
        }
      }
    }

    /* Keep ESP32 UART bridge ping running while audio tests are active. */
    Test_SendPingIfDue(&last_ping_tick);
    Test_HandleUartRx();
    Test_ServiceAudioDma(record_active, &last_loopback_report_tick);
    Test_ServicePcmTransmit();
    Test_ServiceAudStream(&last_aud_report_tick);

    /* Print record-done log outside the DMA callback to avoid audio starvation */
    if (record_done_pending != 0U) {
      char record_done_msg[192];
      char dump[128];
      record_done_pending = 0U;
      snprintf(record_done_msg, sizeof(record_done_msg),
               "Mic record done: playback start inv:%lu Lavg:%lu Lpk:%lu Ravg:%lu Rpk:%lu ovr:%lu\r\n",
               (unsigned long)record_done_invalid_count,
               (unsigned long)record_done_lavg,
               (unsigned long)record_done_lpk,
               (unsigned long)record_done_ravg,
               (unsigned long)record_done_rpk,
               (unsigned long)record_done_ovr);
      Test_SendStatus(record_done_msg);
      /* Dump first 16 recorded PCM samples for debug */
      {
        const int16_t *dbuf = record_buf[record_write_buf ^ 1U];
        snprintf(dump, sizeof(dump),
                 "REC[0..15]: %d %d %d %d %d %d %d %d %d %d %d %d %d %d %d %d\r\n",
                 dbuf[0], dbuf[1], dbuf[2],  dbuf[3],
                 dbuf[4], dbuf[5], dbuf[6],  dbuf[7],
                 dbuf[8], dbuf[9], dbuf[10], dbuf[11],
                 dbuf[12], dbuf[13], dbuf[14], dbuf[15]);
      }
      Test_SendUsbStatus(dump);
    }

    /* USER CODE END WHILE */

  }
}

void SystemClock_Config(void) {
  RCC_OscInitTypeDef RCC_OscInitStruct = {0};
  RCC_ClkInitTypeDef RCC_ClkInitStruct = {0};
  RCC_PeriphCLKInitTypeDef PeriphClkInitStruct = {0};

  /** Configure the main internal regulator output voltage
   */
  __HAL_RCC_PWR_CLK_ENABLE();
  __HAL_PWR_VOLTAGESCALING_CONFIG(PWR_REGULATOR_VOLTAGE_SCALE1);

  /** Initializes the RCC Oscillators according to the specified parameters
   * in the RCC_OscInitTypeDef structure.
   */
  RCC_OscInitStruct.OscillatorType = RCC_OSCILLATORTYPE_HSE;
  RCC_OscInitStruct.HSEState = RCC_HSE_ON;
  RCC_OscInitStruct.PLL.PLLState = RCC_PLL_ON;
  RCC_OscInitStruct.PLL.PLLSource = RCC_PLLSOURCE_HSE;
  RCC_OscInitStruct.PLL.PLLM = 8;
  RCC_OscInitStruct.PLL.PLLN = 336;
  RCC_OscInitStruct.PLL.PLLP = RCC_PLLP_DIV2;
  RCC_OscInitStruct.PLL.PLLQ = 7;
  if (HAL_RCC_OscConfig(&RCC_OscInitStruct) != HAL_OK) {
    Error_Handler();
  }

  /** Initializes the CPU, AHB and APB buses clocks
   */
  RCC_ClkInitStruct.ClockType = RCC_CLOCKTYPE_HCLK | RCC_CLOCKTYPE_SYSCLK |
                                RCC_CLOCKTYPE_PCLK1 | RCC_CLOCKTYPE_PCLK2;
  RCC_ClkInitStruct.SYSCLKSource = RCC_SYSCLKSOURCE_PLLCLK;
  RCC_ClkInitStruct.AHBCLKDivider = RCC_SYSCLK_DIV1;
  RCC_ClkInitStruct.APB1CLKDivider = RCC_HCLK_DIV4;
  RCC_ClkInitStruct.APB2CLKDivider = RCC_HCLK_DIV2;

  if (HAL_RCC_ClockConfig(&RCC_ClkInitStruct, FLASH_LATENCY_5) != HAL_OK) {
    Error_Handler();
  }

  PeriphClkInitStruct.PeriphClockSelection = RCC_PERIPHCLK_I2S;
  PeriphClkInitStruct.PLLI2S.PLLI2SN = 192;
  PeriphClkInitStruct.PLLI2S.PLLI2SR = 2;
  if (HAL_RCCEx_PeriphCLKConfig(&PeriphClkInitStruct) != HAL_OK) {
    Error_Handler();
  }
}

static void MX_DMA_Init(void) {

  /* DMA controller clock enable */
  __HAL_RCC_DMA1_CLK_ENABLE();
  __HAL_RCC_DMA2_CLK_ENABLE();

  /* DMA interrupt init */
  HAL_NVIC_SetPriority(DMA1_Stream3_IRQn, 0, 0);
  HAL_NVIC_EnableIRQ(DMA1_Stream3_IRQn);
  HAL_NVIC_SetPriority(DMA1_Stream4_IRQn, 0, 0);
  HAL_NVIC_EnableIRQ(DMA1_Stream4_IRQn);
  HAL_NVIC_SetPriority(DMA2_Stream2_IRQn, 1, 0);
  HAL_NVIC_EnableIRQ(DMA2_Stream2_IRQn);
}

static void MX_I2S2_Init(void) {

  hi2s2.Instance = SPI2;
  hi2s2.Init.Mode = I2S_MODE_MASTER_TX;
  hi2s2.Init.Standard = I2S_STANDARD_PHILIPS;
  hi2s2.Init.DataFormat = I2S_DATAFORMAT_24B;
  hi2s2.Init.MCLKOutput = I2S_MCLKOUTPUT_DISABLE;
  hi2s2.Init.AudioFreq = I2S_AUDIOFREQ_16K;
  hi2s2.Init.CPOL = I2S_CPOL_LOW;
  hi2s2.Init.ClockSource = I2S_CLOCK_PLL;
  hi2s2.Init.FullDuplexMode = I2S_FULLDUPLEXMODE_ENABLE;
  if (HAL_I2S_Init(&hi2s2) != HAL_OK) {
    i2s2_ready = 0;
    return;
  }
  i2s2_ready = 1;
}

static void MX_USART1_UART_Init(void) {

  huart1.Instance = USART1;
  huart1.Init.BaudRate = UART_BRIDGE_BAUD_RATE;
  huart1.Init.WordLength = UART_WORDLENGTH_8B;
  huart1.Init.StopBits = UART_STOPBITS_1;
  huart1.Init.Parity = UART_PARITY_NONE;
  huart1.Init.Mode = UART_MODE_TX_RX;
  huart1.Init.HwFlowCtl = UART_HWCONTROL_NONE;
  huart1.Init.OverSampling = UART_OVERSAMPLING_16;
  if (HAL_UART_Init(&huart1) != HAL_OK) {
    Error_Handler();
  }
}

static void MX_GPIO_Init(void) {
  GPIO_InitTypeDef GPIO_InitStruct = {0};

  /* GPIO Ports Clock Enable */
  __HAL_RCC_GPIOH_CLK_ENABLE();
  __HAL_RCC_GPIOE_CLK_ENABLE();
  __HAL_RCC_GPIOA_CLK_ENABLE();

  /*Configure GPIO pin Output Level */
  HAL_GPIO_WritePin(GPIOA, LED_D2_Pin | LED_D3_Pin, GPIO_PIN_SET);

  /*Configure GPIO pins : KEY_K1_Pin KEY_K0_Pin */
  GPIO_InitStruct.Pin = KEY_K1_Pin | KEY_K0_Pin;
  GPIO_InitStruct.Mode = GPIO_MODE_INPUT;
  GPIO_InitStruct.Pull = GPIO_PULLUP;
  HAL_GPIO_Init(GPIOE, &GPIO_InitStruct);

  /*Configure GPIO pins : LED_D2_Pin LED_D3_Pin */
  GPIO_InitStruct.Pin = LED_D2_Pin | LED_D3_Pin;
  GPIO_InitStruct.Mode = GPIO_MODE_OUTPUT_PP;
  GPIO_InitStruct.Pull = GPIO_NOPULL;
  GPIO_InitStruct.Speed = GPIO_SPEED_FREQ_LOW;
  HAL_GPIO_Init(GPIOA, &GPIO_InitStruct);

}

void Error_Handler(void) {
  /* USER CODE BEGIN Error_Handler_Debug */
  __HAL_RCC_GPIOA_CLK_ENABLE();

  GPIO_InitTypeDef GPIO_InitStruct = {0};
  GPIO_InitStruct.Pin = LED_D2_Pin | LED_D3_Pin;
  GPIO_InitStruct.Mode = GPIO_MODE_OUTPUT_PP;
  GPIO_InitStruct.Pull = GPIO_NOPULL;
  GPIO_InitStruct.Speed = GPIO_SPEED_FREQ_LOW;
  HAL_GPIO_Init(GPIOA, &GPIO_InitStruct);

  while (1) {
    HAL_GPIO_TogglePin(LED_D2_GPIO_Port, LED_D2_Pin);
    HAL_GPIO_TogglePin(LED_D3_GPIO_Port, LED_D3_Pin);
    HAL_Delay(100);
  }
  /* USER CODE END Error_Handler_Debug */
}

#ifdef USE_FULL_ASSERT
/**
 * @brief  Reports the name of the source file and the source line number
 *         where the assert_param error has occurred.
 * @param  file: pointer to the source file name
 * @param  line: assert_param error line source number
 * @retval None
 */
void assert_failed(uint8_t *file, uint32_t line) {
  /* USER CODE BEGIN 6 */
  /* User can add his own implementation to report the file name and line
     number, ex: printf("Wrong parameters value: file %s on line %d\r\n", file,
     line) */
  /* USER CODE END 6 */
}
#endif /* USE_FULL_ASSERT */
